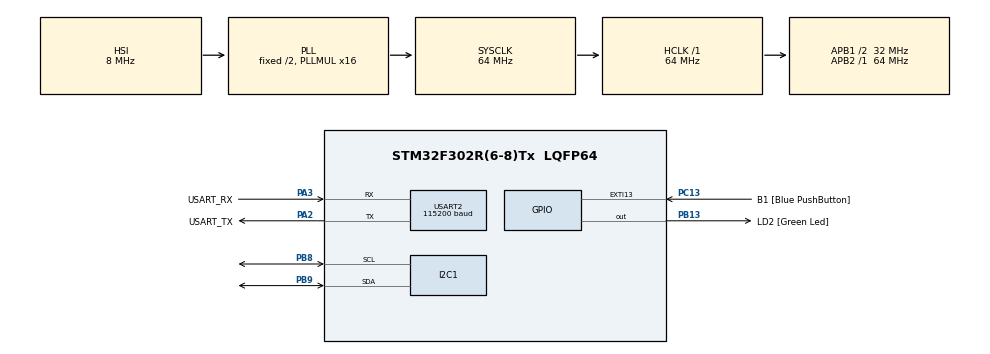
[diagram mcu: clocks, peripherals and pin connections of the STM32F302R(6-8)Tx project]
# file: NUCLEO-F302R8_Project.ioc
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I2C1.Timing=0x00201D2B
Mcu.Family=STM32F3
Mcu.Name=STM32F302R(6-8)Tx
Mcu.Package=LQFP64
NVIC.PriorityGroup=NVIC_PRIORITYGROUP_0
NVIC.TIM1_BRK_TIM15_IRQn=true\:0\:0\:false\:false\:true\:true\:true\:true
PA13.GPIO_Label=TMS
PA13.Mode=Serial_Wire
PA13.Signal=SYS_JTMS-SWDIO
PA14.GPIO_Label=TCK
PA14.Mode=Serial_Wire
PA14.Signal=SYS_JTCK-SWCLK
PA2.GPIO_Label=USART_TX
PA2.GPIO_Mode=GPIO_MODE_AF_PP
PA2.GPIO_PuPd=GPIO_NOPULL
PA2.GPIO_Speed=GPIO_SPEED_FREQ_LOW
PA2.Mode=Asynchronous
PA2.Signal=USART2_TX
PA3.GPIO_Label=USART_RX
PA3.GPIO_Mode=GPIO_MODE_AF_PP
PA3.GPIO_PuPd=GPIO_NOPULL
PA3.GPIO_Speed=GPIO_SPEED_FREQ_LOW
PA3.Mode=Asynchronous
PA3.Signal=USART2_RX
PB13.GPIO_Label=LD2 [Green Led]
PB13.Signal=GPIO_Output
PB3.GPIO_Label=SWO
PB3.Mode=Trace_Asynchronous_SW
PB3.Signal=SYS_JTDO-TRACESWO
PB8.Mode=I2C
PB8.Signal=I2C1_SCL
PB9.Mode=I2C
PB9.Signal=I2C1_SDA
PC13.GPIO_Label=B1 [Blue PushButton]
PC13.GPIO_ModeDefaultEXTI=GPIO_MODE_IT_FALLING
PC13.Signal=GPXTI13
PC14\ -\ OSC32_IN.Mode=LSE-External-Oscillator
PC14\ -\ OSC32_IN.Signal=RCC_OSC32_IN
PC15\ -\ OSC32_OUT.Mode=LSE-External-Oscillator
PC15\ -\ OSC32_OUT.Signal=RCC_OSC32_OUT
PF0-OSC_IN.Mode=HSE-External-Clock-Source
PF0-OSC_IN.Signal=RCC_OSC_IN
PF1-OSC_OUT.Signal=RCC_OSC_OUT
ProjectManager.HeapSize=0x200
ProjectManager.StackSize=0x400
ProjectManager.TargetToolchain=STM32CubeIDE
RCC.AHBFreq_Value=64000000
RCC.APB1CLKDivider=RCC_HCLK_DIV2
RCC.APB1Freq_Value=32000000
RCC.APB1TimFreq_Value=64000000
RCC.APB2Freq_Value=64000000
RCC.APB2TimFreq_Value=64000000
RCC.CortexFreq_Value=64000000
RCC.HCLKFreq_Value=64000000
RCC.HSE_VALUE=8000000
RCC.HSI_VALUE=8000000
RCC.PLLM=8
RCC.PLLMUL=RCC_PLL_MUL16
RCC.PLLN=336
RCC.PLLP=RCC_PLLP_DIV4
RCC.PLLQ=7
RCC.RCC_PLLsource_Clock_Source_FROM_HSE=RCC_HSE_PREDIV_DIV2
RCC.SYSCLKFreq_VALUE=64000000
RCC.SYSCLKSourceVirtual=RCC_SYSCLKSOURCE_PLLCLK
RCC.USBFreq_Value=64000000
TIM15.Period=3199
TIM15.Prescaler=9999
USART2.BaudRate=115200
USART2.VirtualMode-Asynchronous=VM_ASYNC
VP_TIM15_VS_ClockSourceINT.Mode=Internal
board=NUCLEO-F302R8

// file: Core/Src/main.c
/* USER CODE BEGIN Header */
/**
  ******************************************************************************
  * @file           : main.c
  * @brief          : Main program body
  ******************************************************************************
  * @attention
  *
  * Copyright (c) 2026 STMicroelectronics.
  * All rights reserved.
  *
  * This software is licensed under terms that can be found in the LICENSE file
  * in the root directory of this software component.
  * If no LICENSE file comes with this software, it is provided AS-IS.
  *
  ******************************************************************************
  */
/* USER CODE END Header */
#include "main.h"

/* USER CODE BEGIN Includes */
#include <string.h>
#include "stdio.h"
/* USER CODE END Includes */

I2C_HandleTypeDef hi2c1;

TIM_HandleTypeDef htim15;

UART_HandleTypeDef huart2;

void SystemClock_Config(void);
static void MX_GPIO_Init(void);
static void MX_USART2_UART_Init(void);
static void MX_TIM15_Init(void);
static void MX_I2C1_Init(void);
/* USER CODE BEGIN PFP */
int __io_putchar(int ch);
/* USER CODE END PFP */

/* USER CODE BEGIN 0 */

static void i2c_scan(void)
{
	for(uint8_t i = 0; i<127; i++)
    {
	    if(HAL_I2C_IsDeviceReady(&hi2c1, i << 1, 1, 10) == HAL_OK)
		{
			printf("I2C Address is 0x%x\r\n", i);
		}
    }
}

uint8_t data[]="El luchador!\n";

void HAL_TIM_PeriodElapsedCallback(TIM_HandleTypeDef *htim){
	HAL_GPIO_TogglePin(LD2_GPIO_Port, LD2_Pin);
}

/* USER CODE END 0 */

int main(void)
{

  /* MCU Configuration--------------------------------------------------------*/

  /* Reset of all peripherals, Initializes the Flash interface and the Systick. */
  HAL_Init();

  /* Configure the system clock */
  SystemClock_Config();

  /* Initialize all configured peripherals */
  MX_GPIO_Init();
  MX_USART2_UART_Init();
  MX_TIM15_Init();
  MX_I2C1_Init();
  /* USER CODE BEGIN 2 */
HAL_TIM_Base_Start_IT(&htim15);

i2c_scan();
  /* USER CODE END 2 */

  /* Infinite loop */
  /* USER CODE BEGIN WHILE */

HAL_UART_Transmit(&huart2, data, 12, 2000); /*1st comment umm this
 is for the message printing but prints twice for some reason*/

  uint8_t cmd_init[2] = {0x20, 0x03};//spg30_iaq_init
  uint8_t cmd_meas[2] = {0x20, 0x08};//sgp30_measure_iaq
  uint8_t buf[6];
  uint16_t eco2, tvoc;

  /*Start air quality sensing*/
  if(HAL_I2C_Master_Transmit(&hi2c1, 0x58<<1, cmd_init,2,100) != HAL_OK)
  {
	  printf("iaq_init failed\r\n");//shows if connection failed?
  }
  HAL_Delay(10);

  while (1)
  {

    /* USER CODE END WHILE */

    /* USER CODE BEGIN 3 */
	  if(HAL_I2C_Master_Transmit(&hi2c1, 0x58<<1, cmd_meas,2,100) ==HAL_OK)
	  {
		  HAL_Delay(12); //data sheet says 12 milli-seconds

	  	if(HAL_I2C_Master_Receive(&hi2c1, 0x58<<1, buf, 6, 100)==HAL_OK)
	  	{
	  		eco2 = (buf[0] << 8) | buf[1]; // Buff [2] and [5] are crc so ignored
	  		tvoc = (buf[3] << 8) | buf[4];
	  		printf("eCO2: %u ppm, TVOC: %u ppb\r\n", eco2, tvoc);
	  	}
	  	else
	  	{
	  		printf("read failed\r\n");
	  	}
	  }
	  else
	  {
		  printf("measure command failed\r\n");
	  }

	  HAL_Delay(988);

  }
  /* USER CODE END 3 */
}

void SystemClock_Config(void)
{
  RCC_OscInitTypeDef RCC_OscInitStruct = {0};
  RCC_ClkInitTypeDef RCC_ClkInitStruct = {0};
  RCC_PeriphCLKInitTypeDef PeriphClkInit = {0};

  /** Initializes the RCC Oscillators according to the specified parameters
  * in the RCC_OscInitTypeDef structure.
  */
  RCC_OscInitStruct.OscillatorType = RCC_OSCILLATORTYPE_HSI;
  RCC_OscInitStruct.HSIState = RCC_HSI_ON;
  RCC_OscInitStruct.HSICalibrationValue = RCC_HSICALIBRATION_DEFAULT;
  RCC_OscInitStruct.PLL.PLLState = RCC_PLL_ON;
  RCC_OscInitStruct.PLL.PLLSource = RCC_PLLSOURCE_HSI;
  RCC_OscInitStruct.PLL.PLLMUL = RCC_PLL_MUL16;
  if (HAL_RCC_OscConfig(&RCC_OscInitStruct) != HAL_OK)
  {
    Error_Handler();
  }

  /** Initializes the CPU, AHB and APB buses clocks
  */
  RCC_ClkInitStruct.ClockType = RCC_CLOCKTYPE_HCLK|RCC_CLOCKTYPE_SYSCLK
                              |RCC_CLOCKTYPE_PCLK1|RCC_CLOCKTYPE_PCLK2;
  RCC_ClkInitStruct.SYSCLKSource = RCC_SYSCLKSOURCE_PLLCLK;
  RCC_ClkInitStruct.AHBCLKDivider = RCC_SYSCLK_DIV1;
  RCC_ClkInitStruct.APB1CLKDivider = RCC_HCLK_DIV2;
  RCC_ClkInitStruct.APB2CLKDivider = RCC_HCLK_DIV1;

  if (HAL_RCC_ClockConfig(&RCC_ClkInitStruct, FLASH_LATENCY_2) != HAL_OK)
  {
    Error_Handler();
  }
  PeriphClkInit.PeriphClockSelection = RCC_PERIPHCLK_I2C1|RCC_PERIPHCLK_TIM15;
  PeriphClkInit.I2c1ClockSelection = RCC_I2C1CLKSOURCE_HSI;
  PeriphClkInit.Tim15ClockSelection = RCC_TIM15CLK_HCLK;
  if (HAL_RCCEx_PeriphCLKConfig(&PeriphClkInit) != HAL_OK)
  {
    Error_Handler();
  }
}

static void MX_I2C1_Init(void)
{

  hi2c1.Instance = I2C1;
  hi2c1.Init.Timing = 0x00201D2B;
  hi2c1.Init.OwnAddress1 = 0;
  hi2c1.Init.AddressingMode = I2C_ADDRESSINGMODE_7BIT;
  hi2c1.Init.DualAddressMode = I2C_DUALADDRESS_DISABLE;
  hi2c1.Init.OwnAddress2 = 0;
  hi2c1.Init.OwnAddress2Masks = I2C_OA2_NOMASK;
  hi2c1.Init.GeneralCallMode = I2C_GENERALCALL_DISABLE;
  hi2c1.Init.NoStretchMode = I2C_NOSTRETCH_DISABLE;
  if (HAL_I2C_Init(&hi2c1) != HAL_OK)
  {
    Error_Handler();
  }

  /** Configure Analogue filter
  */
  if (HAL_I2CEx_ConfigAnalogFilter(&hi2c1, I2C_ANALOGFILTER_ENABLE) != HAL_OK)
  {
    Error_Handler();
  }

  /** Configure Digital filter
  */
  if (HAL_I2CEx_ConfigDigitalFilter(&hi2c1, 0) != HAL_OK)
  {
    Error_Handler();
  }

}

static void MX_TIM15_Init(void)
{

  TIM_ClockConfigTypeDef sClockSourceConfig = {0};
  TIM_MasterConfigTypeDef sMasterConfig = {0};

  htim15.Instance = TIM15;
  htim15.Init.Prescaler = 9999;
  htim15.Init.CounterMode = TIM_COUNTERMODE_UP;
  htim15.Init.Period = 3199;
  htim15.Init.ClockDivision = TIM_CLOCKDIVISION_DIV1;
  htim15.Init.RepetitionCounter = 0;
  htim15.Init.AutoReloadPreload = TIM_AUTORELOAD_PRELOAD_DISABLE;
  if (HAL_TIM_Base_Init(&htim15) != HAL_OK)
  {
    Error_Handler();
  }
  sClockSourceConfig.ClockSource = TIM_CLOCKSOURCE_INTERNAL;
  if (HAL_TIM_ConfigClockSource(&htim15, &sClockSourceConfig) != HAL_OK)
  {
    Error_Handler();
  }
  sMasterConfig.MasterOutputTrigger = TIM_TRGO_RESET;
  sMasterConfig.MasterSlaveMode = TIM_MASTERSLAVEMODE_DISABLE;
  if (HAL_TIMEx_MasterConfigSynchronization(&htim15, &sMasterConfig) != HAL_OK)
  {
    Error_Handler();
  }

}

static void MX_USART2_UART_Init(void)
{

  huart2.Instance = USART2;
  huart2.Init.BaudRate = 115200;
  huart2.Init.WordLength = UART_WORDLENGTH_8B;
  huart2.Init.StopBits = UART_STOPBITS_1;
  huart2.Init.Parity = UART_PARITY_NONE;
  huart2.Init.Mode = UART_MODE_TX_RX;
  huart2.Init.HwFlowCtl = UART_HWCONTROL_NONE;
  huart2.Init.OverSampling = UART_OVERSAMPLING_16;
  huart2.Init.OneBitSampling = UART_ONE_BIT_SAMPLE_DISABLE;
  huart2.AdvancedInit.AdvFeatureInit = UART_ADVFEATURE_NO_INIT;
  if (HAL_UART_Init(&huart2) != HAL_OK)
  {
    Error_Handler();
  }

}

static void MX_GPIO_Init(void)
{
  GPIO_InitTypeDef GPIO_InitStruct = {0};

  /* GPIO Ports Clock Enable */
  __HAL_RCC_GPIOC_CLK_ENABLE();
  __HAL_RCC_GPIOF_CLK_ENABLE();
  __HAL_RCC_GPIOA_CLK_ENABLE();
  __HAL_RCC_GPIOB_CLK_ENABLE();

  /*Configure GPIO pin Output Level */
  HAL_GPIO_WritePin(LD2_GPIO_Port, LD2_Pin, GPIO_PIN_RESET);

  /*Configure GPIO pin : B1_Pin */
  GPIO_InitStruct.Pin = B1_Pin;
  GPIO_InitStruct.Mode = GPIO_MODE_IT_FALLING;
  GPIO_InitStruct.Pull = GPIO_NOPULL;
  HAL_GPIO_Init(B1_GPIO_Port, &GPIO_InitStruct);

  /*Configure GPIO pin : LD2_Pin */
  GPIO_InitStruct.Pin = LD2_Pin;
  GPIO_InitStruct.Mode = GPIO_MODE_OUTPUT_PP;
  GPIO_InitStruct.Pull = GPIO_NOPULL;
  GPIO_InitStruct.Speed = GPIO_SPEED_FREQ_LOW;
  HAL_GPIO_Init(LD2_GPIO_Port, &GPIO_InitStruct);

}

/* USER CODE BEGIN 4 */
int __io_putchar(int ch)
{
	HAL_UART_Transmit(&huart2, (uint8_t*)&ch, 1, HAL_MAX_DELAY);
	return ch; /* I got no clue what this is but I think it defines i */
}
/* USER CODE END 4 */

void Error_Handler(void)
{
  __disable_irq();
  while (1)
  {
  }
}
